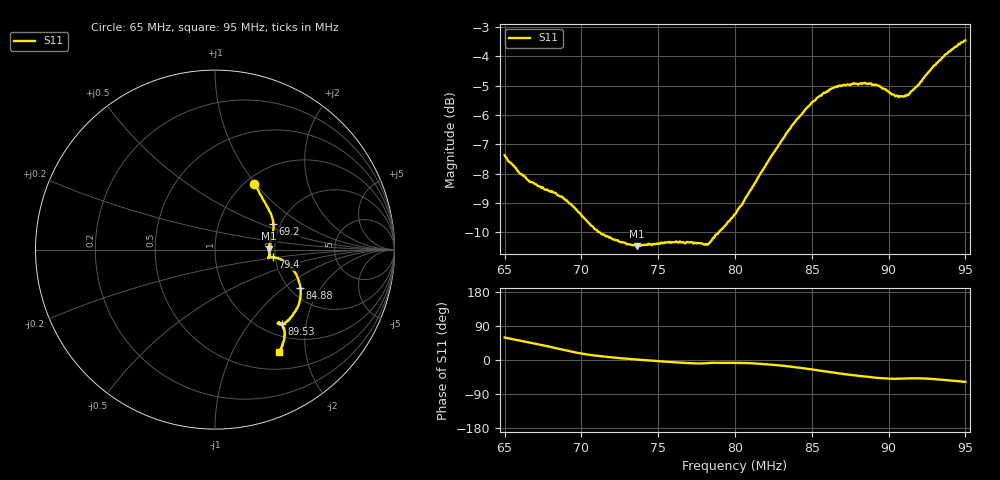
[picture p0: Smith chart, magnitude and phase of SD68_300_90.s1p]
! NanoVNA-App
! Date: 2025-08-09 13:25:22
! Start: 65MHz Stop: 95MHz Points: 401
! S-Parameter data: F S11
# Hz S RI R 50
!  Frequency  S11_Real  S11_Imag
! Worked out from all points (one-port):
!   401 points, 65 MHz to 95 MHz, reference 50 ohm
!   lowest |S11| = -10.5 dB at 73.62 MHz (marker M1), VSWR 1.85, Z = 92.7 + j1.23 ohm
!   |S11| at or under -10 dB: 71.14 MHz to 78.95 MHz (7.806 MHz wide, 10.4 % of centre)
!   S11 on the Smith chart (normalised r, x): 65 MHz: 1.09, +0.99; 69.2 MHz: 1.84, +0.59; 79.4 MHz: 1.94, -0.19; 84.88 MHz: 2.27, -1.33; 89.53 MHz: 1.22, -1.47; 95 MHz: 0.75, -1.55
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6.5e7  0.218 0.3681
6.6575e7  0.2666 0.2801
6.875e7  0.3227 0.1671
6.92e7  0.3248 0.1411
7.0625e7  0.3162 0.0727
7.1225e7  0.3103 0.0564
7.25e7  0.3031 0.0252
7.3625e7  0.2992 0.00602
7.625e7  0.302 -0.0344
7.7525e7  0.2986 -0.048
7.82e7  0.2976 -0.0438
7.94e7  0.3221 -0.0432
8e7  0.3363 -0.0453
8.0975e7  0.3679 -0.0556
8.1725e7  0.3943 -0.0701
8.27e7  0.4276 -0.102
8.375e7  0.4579 -0.151
8.4875e7  0.4748 -0.2141
8.63e7  0.4693 -0.2986
8.75e7  0.4365 -0.3561
8.87e7  0.4048 -0.3977
8.9525e7  0.3736 -0.4151
9.035e7  0.3522 -0.4128
9.125e7  0.3586 -0.4077
9.2e7  0.3756 -0.4227
9.2975e7  0.3887 -0.4693
9.3725e7  0.3844 -0.5074
9.5e7  0.3578 -0.5684
